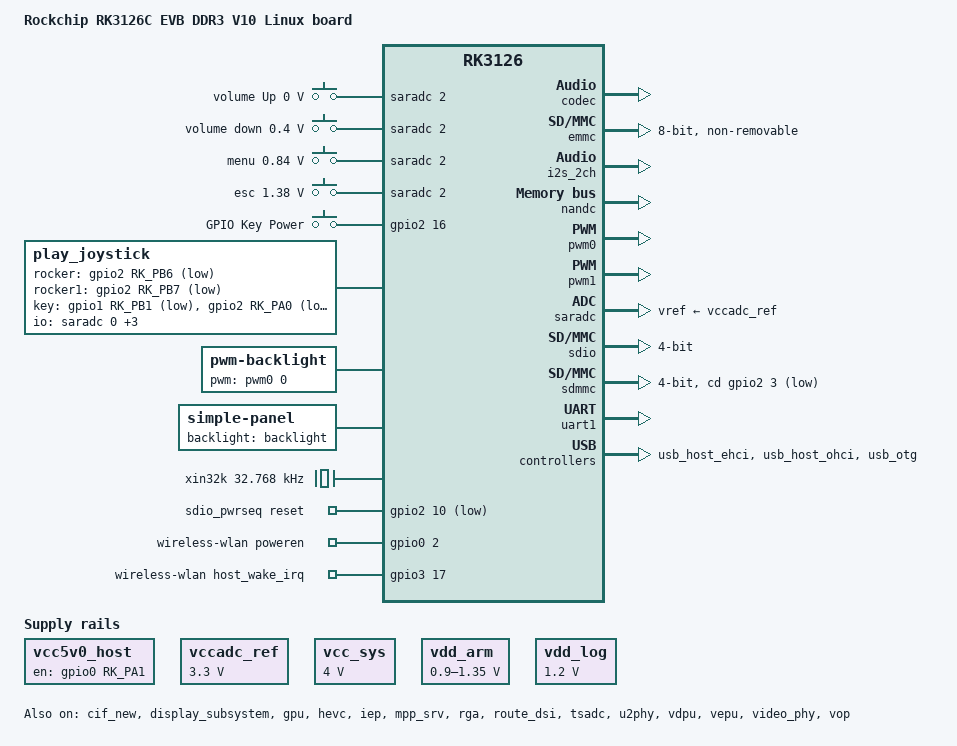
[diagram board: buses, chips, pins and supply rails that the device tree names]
// SPDX-License-Identifier: (GPL-2.0+ OR MIT)
/*
 * Copyright (c) 2022 Rockchip Electronics Co., Ltd
 */

/dts-v1/;
#include <dt-bindings/gpio/gpio.h>
#include <dt-bindings/input/input.h>
#include <dt-bindings/pinctrl/rockchip.h>
#include <dt-bindings/pwm/pwm.h>
#include <dt-bindings/sensor-dev.h>
#include "lcd/lcd_mipi_NV3051F_boe_640x480.dtsi"
#include "rk312x-android.dtsi"

/ {
	model = "Rockchip RK3126C EVB DDR3 V10 Linux board";
	compatible = "rockchip,rk3126";

	chosen {
		bootargs = "root=PARTUUID=614e0000-0000-4b53-8000-1d28000054a9 rootfstype=ext4 rw rootwait overlayroot=device:dev=PARTLABEL=STORAGE,fstype=ext4,mkfs=1";
	};

	adc-keys {
		compatible = "adc-keys";
		io-channels = <&saradc 2>;
		io-channel-names = "buttons";
		poll-interval = <100>;
		keyup-threshold-microvolt = <3300000>;

		vol-up-key {
			label = "volume Up";
			linux,code = <KEY_VOLUMEUP>;
			press-threshold-microvolt = <0>;
		};

		vol-down-key{
			label = "volume down";
			linux,code = <KEY_VOLUMEDOWN>;
			press-threshold-microvolt = <400000>;
		};

		menu-key{
			label = "menu";
			linux,code = <KEY_MENU>;
			press-threshold-microvolt = <840000>;
		};

		esc-key {
			label = "esc";
			linux,code = <KEY_ESC>;
			press-threshold-microvolt = <1380000>;
		};
	};

	gpio-keys {
		compatible = "gpio-keys";
		#address-cells = <1>;
		#size-cells = <0>;
		autorepeat;

		pinctrl-names = "default";
		pinctrl-0 = <&pwr_btn>;

		button@0 {
			gpios = <&gpio2 16 GPIO_ACTIVE_HIGH>;
			linux,code = <116>;
			label = "GPIO Key Power";
			linux,input-type = <1>;
			gpio-key,wakeup = <1>;
			debounce-interval = <100>;
			wakeup-source;
		};
	};
	
	play_joystick {
		compatible = "play_joystick";
		io-channels = <&saradc 0>,<&saradc 1>,<&saradc 2>,<&saradc 3>;
		io-channel-names = "button0","button1","button2","button3";
		keyup-threshold-microvolt = <3000000>;
		poll-interval = <30>;
		debounce-interval = <100>;	
		pinctrl-names = "default";
		pinctrl-0 = <&gpio_key_pin>;
	//	pinctrl-0 = <&gpio_key_pin &vcc5v0_otg_en>;
		
		//ò????a1??D??
		rocker-gpios = <&gpio2 RK_PB6 GPIO_ACTIVE_LOW>;
		rocker1-gpios = <&gpio2 RK_PB7 GPIO_ACTIVE_LOW>;

		gpio-key-num = <10>;
		//ó3é?μ??ü?μD′?ú?y?ˉà???á?
		key-gpios = 
			<&gpio1 RK_PB1 GPIO_ACTIVE_LOW>,//BTN_TL2
			<&gpio2 RK_PA0 GPIO_ACTIVE_LOW>,//SDL_CONTROLLER_BUTTON_A
			<&gpio2 RK_PA1 GPIO_ACTIVE_LOW>,//SDL_CONTROLLER_BUTTON_B
			<&gpio2 RK_PA2 GPIO_ACTIVE_LOW>,//SDL_CONTROLLER_BUTTON_X
			<&gpio2 RK_PA4 GPIO_ACTIVE_LOW>,//SDL_CONTROLLER_BUTTON_Y
			<&gpio3 RK_PB3 GPIO_ACTIVE_LOW>,//SDL_CONTROLLER_BUTTON_DPAD_LEFT
			<&gpio2 RK_PC3 GPIO_ACTIVE_LOW>,//KEY_VOLUMEUP
			<&gpio2 RK_PC2 GPIO_ACTIVE_LOW>,//KEY_VOLUMEDOWN
			<&gpio2 RK_PB4 GPIO_ACTIVE_LOW>,//KEY_THUMBL
			//<&gpio2 RK_PB5 GPIO_ACTIVE_LOW>,//KEY_THUMBR
			<&gpio3 RK_PB2 GPIO_ACTIVE_LOW>;//KEY_FN
			
		left-x {
			label = "left x";
			adc-chan = <0>;
			linux,code = <ABS_X>;
			press-threshold-microvolt = <3000>;
		};

		left-y {
			label = "left y";
			adc-chan = <1>;
			linux,code = <ABS_Y>;
			press-threshold-microvolt = <3000>;
		};

		right-x {
			label = "right x";
			adc-chan = <2>;
			linux,code = <ABS_RX>;
			press-threshold-microvolt = <3000>;
		};

		right-y {
			label = "right y";
			adc-chan = <3>;
			linux,code = <ABS_RY>;
			press-threshold-microvolt = <3000>;
		};
	};

	backlight: backlight {
		compatible = "pwm-backlight";
		pwms = <&pwm0 0 25000 0>;
		brightness-levels = <0 1 2 3 4 5 6 7 8 9 10 11 12 13 14 15 16
			17 18 19 20 21 22 23 24 25 26 27 28 29 30 31 32 33 34
			35 36 37 38 39 40 41 42 43 44 45 46 47 48 49 50 51 52
			53 54 55 56 57 58 59 60 61 62 63 64 65 66 67 68 69 70
			71 72 73 74 75 76 77 78 79 80 81 82 83 84 85 86 87 88
			89 90 91 92 93 94 95 96 97 98 99 100 101 102 103 104
			105 106 107 108 109 110 111 112 113 114 115 116 117
			118 119 120 121 122 123 124 125 126 127 128 129 130
			131 132 133 134 135 136 137 138 139 140 141 142 143
			144 145 146 147 148 149 150 151 152 153 154 155 156
			157 158 159 160 161 162 163 164 165 166 167 168 169
			170 171 172 173 174 175 176 177 178 179 180 181 182
			183 184 185 186 187 188 189 190 191 192 193 194 195
			196 197 198 199 200 201 202 203 204 205 206 207 208
			209 210 211 212 213 214 215 216 217 218 219 220 221
			222 223 224 225 226 227 228 229 230 231 232 233 234
			235 236 237 238 239 240 241 242 243 244 245 246 247
			248 249 250 251 252 253 254 255>;
		default-brightness-level = <128>;
	};

	panel {
		compatible = "simple-panel";
		backlight = <&backlight>;
		power-invert;
		enable-delay-ms = <120>;
		disable-delay-ms = <20>;
		unprepare-delay-ms = <20>;

		width-mm = <154>;
		height-mm = <85>;
/*
		display-timings {
			native-mode = <&timing0>;

			timing0: timing0 {
				clock-frequency = <45000000>;
				hactive = <1024>;
				vactive = <600>;
				hback-porch = <10>;
				hfront-porch = <210>;
				vback-porch = <10>;
				vfront-porch = <22>;
				hsync-len = <30>;
				vsync-len = <13>;
				hsync-active = <0>;
				vsync-active = <0>;
				de-active = <0>;
				pixelclk-active = <0>;
			};
		};

		port {
			panel_in_rgb: endpoint {
				remote-endpoint = <&rgb_out_panel>;
			};
		};
*/
	};

	//rockchip_headset {
	//	compatible = "rockchip_headset";
	//	headset_gpio = <&gpio2 10 GPIO_ACTIVE_LOW>;
	//	io-channels = <&saradc 0>;
	//};

	sound {
		compatible = "simple-audio-card";
		simple-audio-card,format = "i2s";
		simple-audio-card,mclk-fs = <256>;
		simple-audio-card,name = "rockchip,rk312x";
		simple-audio-card,cpu {
			sound-dai = <&i2s_2ch>;
		};
		simple-audio-card,codec {
			sound-dai = <&codec>;
		};
	};

	vcc5v0_host: vcc5v0-host {
		compatible = "regulator-fixed";
		regulator-name = "vcc5v0_host";
		pinctrl-names = "default";
		pinctrl-0 = <&usb_hub_h>;
		gpio = <&gpio0 RK_PA1 GPIO_ACTIVE_LOW>;
		enable-active-high;
	};

	vccadc_ref: vccadc-ref {
		compatible = "regulator-fixed";
		regulator-name = "SARADC_AVDD33";
		regulator-always-on;
		regulator-boot-on;
		regulator-min-microvolt = <3300000>;
		regulator-max-microvolt = <3300000>;
	};

	vcc_sys: vcc-sys {
		compatible = "regulator-fixed";
		regulator-name = "vcc_sys";
		regulator-min-microvolt = <4000000>;
		regulator-max-microvolt = <4000000>;
		regulator-always-on;
	};
	
	vdd_arm: vdd_arm {
		compatible = "pwm-regulator";
		rockchip,pwm_id = <1>;
		regulator-init-microvolt = <1200000>;
		regulator-early-min-microvolt = <1200000>;
        pwms = <&pwm1 0 25000 1>;
		regulator-name = "vdd_arm";
		regulator-min-microvolt = <900000>;
		regulator-max-microvolt = <1350000>;
		regulator-always-on;
		regulator-boot-on;
		regulator-settling-time-up-us = <250>;
	};
	
	vdd_log: vdd_log {
		compatible = "regulator-fixed";
		regulator-name = "vdd_logic";
		regulator-min-microvolt = <1200000>;
		regulator-max-microvolt = <1200000>;
		regulator-always-on;
		regulator-boot-on;
	};

	xin32k: xin32k {
		compatible = "fixed-clock";
		clock-frequency = <32768>;
		clock-output-names = "xin32k";
		#clock-cells = <0>;
	};

	wireless-bluetooth {
		compatible = "bluetooth-platdata";

		uart_rts_gpios = <&gpio1 11 GPIO_ACTIVE_LOW>; /* GPIO1_B3 */
		pinctrl-names = "default","rts_gpio";
		pinctrl-0 = <&uart1_rts>;
		pinctrl-1 = <&uart1_rts_gpio>;
		BT,reset_gpio = <&gpio0 1 GPIO_ACTIVE_HIGH>; /* GPIO2_B1 */
		status = "disabled";
	};

	sdio_pwrseq: sdio-pwrseq {
		compatible = "mmc-pwrseq-simple";
		clocks = <&rk816 1>;
		clock-names = "ext_clock";
		pinctrl-names = "default";
		pinctrl-0 = <&wifi_enable_h>;
		reset-gpios = <&gpio2 10 GPIO_ACTIVE_LOW>; /* wifi power */
	};

	wireless-wlan {
		compatible = "wlan-platdata";
		WIFI,poweren_gpio = <&gpio0 2 GPIO_ACTIVE_HIGH>;
		WIFI,host_wake_irq = <&gpio3 17 GPIO_ACTIVE_HIGH>;

		wifi_chip_type = "rk915";
		sdio_vref = <1800>;
		status = "okay";
	};
};

&codec {
	#sound-dai-cells = <0>;
	spk-ctl-gpios = <&gpio2 20 GPIO_ACTIVE_LOW>;
	spk-mute-delay = <200>;
	hp-mute-delay = <100>;
	is_rk3128 = <0>;
	spk_volume = <18>;
	hp_volume = <25>;
	capture_volume = <26>;
	gpio_debug = <1>;
	codec_hp_det = <0>;
	status = "okay";
};

&cpu0 {
	cpu-supply = <&vdd_arm>;
};

&cpu0_opp_table{
    opp-816000000{
	  status="disabeld";
	};
	opp-1008000000{
	  status="okay";
	};
	opp-1200000000{
	  status="disabeld";
	};
};


&cif_new {
	status = "okay";

	ports {
		port@0 {
			cif_in_fcam: endpoint@0 {
				remote-endpoint =  <&gc0312_out>;
				vsync-active = <1>;
				hsync-active = <1>;
			};

			cif_in_bcam: endpoint@1 {
				remote-endpoint = <&gc2145_out>;
				vsync-active = <0>;
				hsync-active = <1>;
			};
		};
	};
};

&display_subsystem {
	status = "okay";
};

&dmc {
	center-supply = <&vdd_log>;
};

&emmc {
	bus-width = <8>;
	cap-mmc-highspeed;
	supports-emmc;
	disable-wp;
	non-removable;
	num-slots = <1>;
	status = "okay";
};

&gpu {
	status = "okay";
	mali-supply = <&vdd_log>;
};

&hevc {
	status = "okay";
};

&hevc_mmu {
	status = "okay";
};

&i2c0 {
	status = "disabled";
	clock-frequency = <400000>;

	gc0312@21 {
		status = "disabled";
		compatible = "galaxycore,gc0312";
		reg = <0x21>;

		clocks = <&cru SCLK_CIF_OUT>;
		clock-names = "xvclk";

		avdd-supply = <&vcc28_cif>;
		dovdd-supply = <&vcc18_cif>;
		dvdd-supply = <&vcc18_cif>;

		pwdn-gpios = <&gpio3 RK_PB3 GPIO_ACTIVE_HIGH>;
		port {
			gc0312_out: endpoint {
				remote-endpoint = <&cif_in_fcam>;
			};
		};
	};

	gc2145@3c {
		status = "disabled";
		compatible = "galaxycore,gc2145";
		reg = <0x3c>;

		clocks = <&cru SCLK_CIF_OUT>;
		clock-names = "xvclk";
		pwdn-gpios = <&gpio3 RK_PB3 GPIO_ACTIVE_HIGH>;

		avdd-supply = <&vcc28_cif>;
		dovdd-supply = <&vcc18_cif>;
		dvdd-supply = <&vcc18_cif>;

		rockchip,camera-module-index = <0>;
		rockchip,camera-module-facing = "back";
		rockchip,camera-module-name = "CameraKing";
		rockchip,camera-module-lens-name = "Largan";

		port {
			gc2145_out: endpoint {
				remote-endpoint = <&cif_in_bcam>;
			};
		};
	};

	gt1x: gt1x@14 {
		compatible = "goodix,gt1x";
		reg = <0x14>;
		power-supply = <&ldo6>;
		power-invert = <1>;
		goodix,irq-gpio = <&gpio0 RK_PA0 IRQ_TYPE_LEVEL_LOW>;
		status = "disabled";
	};
	
	ts@40 {
		compatible = "gslX680-d708";
		reg = <0x40>;
		touch-gpio = <&gpio1 9 IRQ_TYPE_LEVEL_LOW>;
		wake-gpio = <&gpio1 10 IRQ_TYPE_LEVEL_LOW>;
		screen_max_x = <800>;
		screen_max_y = <1280>;
		revert_x = <1>;
		status = "okay";
	};

	sensor7660@4c {
		status = "disabled";
		compatible = "gs_mma7660";
		reg = <0x4c>;
		type = <SENSOR_TYPE_ACCEL>;
		irq_enable = <0>;
		poll_delay_ms = <30>;
		layout = <8>;
		reprobe_en = <1>;
	};

	rk816: pmic@1a {
		compatible = "rockchip,rk816";
		reg = <0x1a>;
		status = "disabled";
		interrupt-parent = <&gpio0>;
		interrupts = <0 IRQ_TYPE_LEVEL_LOW>;
		pinctrl-names = "default";
		pinctrl-0 = <&pmic_int_l>;
		rockchip,system-power-controller;
		wakeup-source;
		gpio-controller;
		#gpio-cells = <2>;
		#clock-cells = <1>;
		clock-output-names = "rk816-clkout1", "rk816-clkout2";
		extcon = <&u2phy>;

		vcc1-supply = <&vcc_sys>;
		vcc2-supply = <&vcc_sys>;
		vcc3-supply = <&vcc_sys>;
		vcc4-supply = <&vcc_sys>;
		vcc5-supply = <&vcc_io>;
		vcc6-supply = <&vcc_sys>;

		gpio {
			status = "okay";
		};

		pwrkey {
			status = "okay";
		};

		rtc {
			status = "okay";
		};

		battery {
			compatible = "rk816-battery";
			ocv_table = < 3500 3625 3685 3697 3718 3735 3748
					3760 3774 3788 3802 3816 3834 3853
					3877 3908 3946 3975 4018 4071 4106>;
			design_capacity = <2500>;
			design_qmax = <2750>;
			bat_res = <100>;
			max_input_current = <1500>;
			max_chrg_current = <1300>;
			max_chrg_voltage = <4200>;
			sleep_enter_current = <300>;
			sleep_exit_current = <300>;
			sleep_filter_current = <100>;
			power_off_thresd = <3500>;
			zero_algorithm_vol = <3850>;
			max_soc_offset = <60>;
			monitor_sec = <5>;
			virtual_power = <0>;
			power_dc2otg = <0>;
			dc_det_adc = <0>;
		};

		regulators {
/*
			vdd_arm: DCDC_REG1{
				regulator-name= "vdd_arm";
				regulator-min-microvolt = <750000>;
				regulator-max-microvolt = <1500000>;
				regulator-ramp-delay = <6001>;
				regulator-initial-mode = <1>;
				regulator-always-on;
				regulator-boot-on;
				regulator-state-mem {
					regulator-off-in-suspend;
					regulator-suspend-microvolt = <900000>;
				};
			};

			vdd_log: DCDC_REG2 {
				regulator-name= "vdd_logic";
				regulator-min-microvolt = <750000>;
				regulator-max-microvolt = <1500000>;
				regulator-ramp-delay = <6001>;
				regulator-initial-mode = <1>;
				regulator-always-on;
				regulator-boot-on;
				regulator-state-mem {
					regulator-on-in-suspend;
					regulator-suspend-microvolt = <1000000>;
				};
			};
*/
			vcc_ddr: DCDC_REG3 {
				regulator-name = "vcc_ddr";
				regulator-always-on;
				regulator-boot-on;
				regulator-initial-mode = <1>;
			};

			vcc_io: DCDC_REG4 {
				regulator-name = "vcc_io";
				regulator-min-microvolt = <3300000>;
				regulator-max-microvolt = <3300000>;
				regulator-initial-mode = <1>;
				regulator-always-on;
				regulator-boot-on;
				regulator-state-mem {
					regulator-on-in-suspend;
					regulator-suspend-microvolt = <3000000>;
				};
			};

			vcc28_cif: LDO_REG1 {
				regulator-name = "vcc28_cif";
				regulator-min-microvolt = <2800000>;
				regulator-max-microvolt = <2800000>;
				regulator-always-on;
				regulator-boot-on;
				regulator-state-mem {
					regulator-off-in-suspend;
				};
			};

			vcc18_cif: LDO_REG2 {
				regulator-name = "vcc18_cif";
				regulator-min-microvolt = <1800000>;
				regulator-max-microvolt = <1800000>;
				regulator-always-on;
				regulator-boot-on;
				regulator-state-mem {
					regulator-off-in-suspend;
				};
			};

			vdd_11: LDO_REG3 {
				regulator-name = "vdd_11";
				regulator-min-microvolt = <1100000>;
				regulator-max-microvolt = <1100000>;
				regulator-always-on;
				regulator-boot-on;
				regulator-state-mem {
					regulator-on-in-suspend;
					regulator-suspend-microvolt = <1100000>;
				};
			};

			ldo4: LDO_REG4 {
				regulator-name= "ldo4";
				regulator-min-microvolt = <3000000>;
				regulator-max-microvolt = <3000000>;
				regulator-always-on;
				regulator-boot-on;
				regulator-state-mem {
					regulator-off-in-suspend;
				};
			};

			ldo5: LDO_REG5 {
				regulator-name= "ldo5";
				regulator-min-microvolt = <3000000>;
				regulator-max-microvolt = <3000000>;
				regulator-always-on;
				regulator-boot-on;
				regulator-state-mem {
					regulator-on-in-suspend;
				};
			};

			ldo6: LDO_REG6 {
				regulator-name= "ldo6";
				regulator-min-microvolt = <3300000>;
				regulator-max-microvolt = <3300000>;
				regulator-state-mem {
					regulator-on-in-suspend;
					regulator-suspend-microvolt = <3300000>;
				};
			};
		};
	};
};

&i2s_2ch {
	#sound-dai-cells = <0>;
	status = "okay";
};

&iep {
	status = "okay";
};

&iep_mmu {
	status = "okay";
};

&mpp_srv {
	status = "okay";
};

&nandc {
	status = "okay";
};

&pinctrl {
	pmic {
		pmic_int_l: pmic-int-l {
			rockchip,pins =
				<0 RK_PA0 0 &pcfg_pull_default>;
		};
	};

	buttons {
		pwr_btn: pwr-btn {
		   rockchip,pins = 
				<2 RK_PC0 0 &pcfg_pull_none>;
		};
		
		gpio_key_pin: gpio-key-pin {
		   rockchip,pins = 
				<1 RK_PB1 RK_FUNC_GPIO &pcfg_pull_default>,
			    <2 RK_PA0 RK_FUNC_GPIO &pcfg_pull_default>,
			    <2 RK_PA1 RK_FUNC_GPIO &pcfg_pull_default>,
			    <2 RK_PA2 RK_FUNC_GPIO &pcfg_pull_default>,
			    <2 RK_PA4 RK_FUNC_GPIO &pcfg_pull_default>,
			    <3 RK_PB3 RK_FUNC_GPIO &pcfg_pull_default>,
			    <2 RK_PC3 RK_FUNC_GPIO &pcfg_pull_default>,
			    <2 RK_PC2 RK_FUNC_GPIO &pcfg_pull_default>,
			    <2 RK_PB4 RK_FUNC_GPIO &pcfg_pull_default>,
			    <2 RK_PB5 RK_FUNC_GPIO &pcfg_pull_default>,
			    <3 RK_PB2 RK_FUNC_GPIO &pcfg_pull_default>;
	};
};

	usb2 {
		usb_hub_h: usb-hub-h {
			rockchip,pins =
				<0 RK_PA1 0 &pcfg_pull_none>;
		};
	};
	wireless-bluetooth {
		uart1_rts_gpio: uart1-rts-gpio {
			rockchip,pins = <1 RK_PB3 RK_FUNC_GPIO &pcfg_pull_none>;
		};
	};

	sdio-pwrseq {
		wifi_enable_h: wifi-enable-h {
			rockchip,pins = <2 RK_PB2 RK_FUNC_GPIO &pcfg_pull_none>;
		};
	};
};

&pwm0 {
	status = "okay";
};

&pwm1 {
	status = "okay";
};

&rga {
	status = "okay";
};

&route_dsi{
	status = "okay";
};

&saradc {
	status = "okay";
	vref-supply = <&vccadc_ref>;
};

&sdio {
	bus-width = <4>;
	max-frequency = <50000000>;
	cap-sd-highspeed;
	supports-sdio;
	ignore-pm-notify;
	keep-power-in-suspend;
	supports-rk912;
	/delete-property/ non-removable;
	status = "okay";
};

&sdmmc {
	bus-width = <4>;
	cap-sd-highspeed;
	supports-sd;
	card-detect-delay = <800>;
	ignore-pm-notify;
	keep-power-in-suspend;
	cd-gpios = <&gpio2 3 GPIO_ACTIVE_LOW>; /* CD GPIO */
	sd-uhs-sdr12;
	sd-uhs-sdr25;
	sd-uhs-sdr50;
	sd-uhs-sdr104;
	status = "okay";
};

&tsadc {
	status = "okay";
};

&u2phy {
	status = "okay";

	u2phy_otg: otg-port {
		status = "okay";
	};

	u2phy_host: host-port {
		phy-supply = <&vcc5v0_host>;
		status = "okay";
	};
};

&uart1 {
	//pinctrl-names = "default";
	//pinctrl-0 = <&uart1_xfer>;
	status = "okay";
};

&usb_host_ehci {
	status = "okay";
};

&usb_host_ohci {
	status = "okay";
};

&usb_otg {
	status = "okay";
};

&vdpu {
	status = "okay";
};

&vepu {
	status = "okay";
};

&video_phy {
	status = "okay";
};

&vop {
	status = "okay";
};

&vop_mmu {
	status = "okay";
};

&vpu_mmu {
	status = "okay";
};
